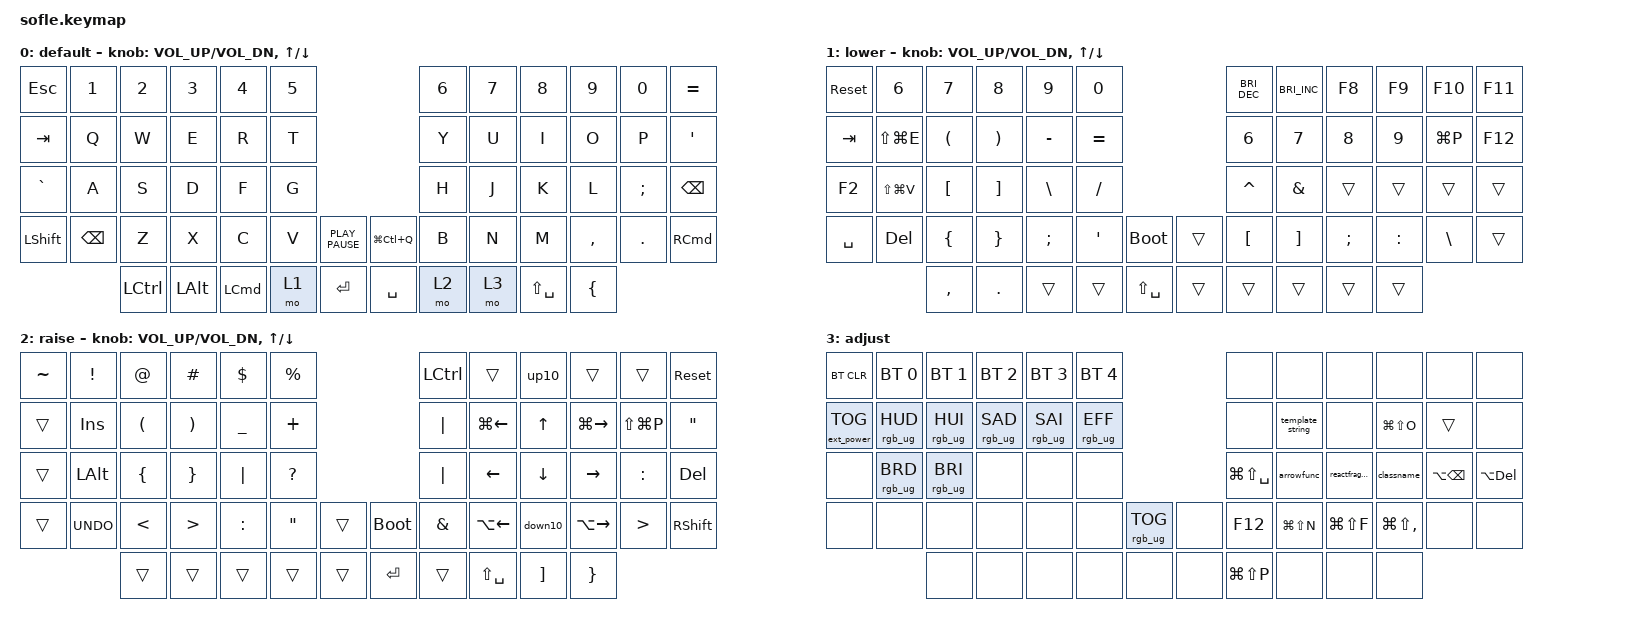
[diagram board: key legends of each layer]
/*
 * Copyright (c) 2020 The ZMK Contributors
 *
 * SPDX-License-Identifier: MIT
 */

#define ZMK_POINTING_DEFAULT_MOVE_VAL 1500  // default: 600
#define ZMK_POINTING_DEFAULT_SCRL_VAL 20    // default: 10

#include <behaviors.dtsi>
#include <dt-bindings/zmk/bt.h>
#include <dt-bindings/zmk/ext_power.h>
#include <dt-bindings/zmk/keys.h>
#include <dt-bindings/zmk/rgb.h>

#define BASE 0
#define LOWER 1
#define RAISE 2
#define ADJUST 3

/ {
    // Activate ADJUST layer by pressing raise and lower

    conditional_layers { compatible = "zmk,conditional-layers"; };

    macros {
        arrowfunc: arrowfunc {
            compatible = "zmk,behavior-macro";
            #binding-cells = <0>;
            bindings = <&kp LEFT_PARENTHESIS &kp RIGHT_PARENTHESIS &kp SPACE &kp EQUAL &kp GREATER_THAN &kp SPACE &kp LEFT_BRACE &kp RIGHT_BRACE &kp LEFT_ARROW>;
            label = "ARROWFUNC";
        };

        reactfragment: reactfragment {
            compatible = "zmk,behavior-macro";
            #binding-cells = <0>;
            bindings = <&kp LG(X) &kp LT &kp GT &kp LG(V) &kp LESS_THAN &kp SLASH &kp GREATER_THAN>;
            label = "REACTFRAGMENT";
        };

        classname: classname {
            compatible = "zmk,behavior-macro";
            #binding-cells = <0>;
            bindings = <&kp LG(X) &kp LEFT_BRACE &kp C &kp N &kp LEFT_PARENTHESIS &kp LG(V) &kp COMMA &kp SPACE &kp C &kp L &kp A &kp S &kp S &kp LS(N) &kp A &kp M &kp E>;
            label = "CLASSNAME";
        };

        down10: down10 {
            compatible = "zmk,behavior-macro";
            #binding-cells = <0>;
            bindings = <&kp DOWN &kp DOWN_ARROW &kp DOWN &kp DOWN &kp DOWN &kp DOWN &kp DOWN &kp DOWN &kp DOWN &kp DOWN>;
            label = "DOWN10";
        };

        up10: up10 {
            compatible = "zmk,behavior-macro";
            #binding-cells = <0>;
            bindings = <&kp UP_ARROW &kp UP_ARROW &kp UP_ARROW &kp UP_ARROW &kp UP_ARROW &kp UP_ARROW &kp UP_ARROW &kp UP_ARROW &kp UP_ARROW &kp UP_ARROW>;
            label = "UP10";
        };

        cmd_shift: cmd_shift {
            compatible = "zmk,behavior-macro";
            #binding-cells = <0>;
            bindings = <&kp LG(LEFT_SHIFT)>;
            label = "CMD_SHIFT";
        };

        template_string: template_string {
            compatible = "zmk,behavior-macro";
            #binding-cells = <0>;
            bindings = <&kp GRAVE &kp RIGHT_ARROW &kp DOLLAR &kp LEFT_BRACE &kp RIGHT_BRACE &kp LEFT_ARROW>;
            label = "TEMPLATE_STRING";
        };
    };

    keymap {
        compatible = "zmk,keymap";

        default_layer {
            label = "default";

            // ------------------------------------------------------------------------------------------------------------
            // |   `   |  1  |  2  |  3   |  4   |  5   |                   |  6   |  7    |  8    |  9   |   0   |       |
            // |  ESC  |  Q  |  W  |  E   |  R   |  T   |                   |  Y   |  U    |  I    |  O   |   P   | BKSPC |
            // |  TAB  |  A  |  S  |  D   |  F   |  G   |                   |  H   |  J    |  K    |  L   |   ;   |   '   |
            // | SHIFT |  Z  |  X  |  C   |  V   |  B   |  MUTE  |  |       |  N   |  M    |  ,    |  .   |   /   | SHIFT |
            //               | GUI | ALT  | CTRL | LOWER|  ENTER |  | SPACE | RAISE| CTRL  | ALT   | GUI  |

            bindings = <
&kp ESCAPE  &kp N1         &kp N2     &kp N3        &kp N4    &kp N5                                     &kp N6  &kp N7  &kp N8         &kp N9          &kp N0         &kp EQUAL
&kp TAB     &kp Q          &kp W      &kp E         &kp R     &kp T                                      &kp Y   &kp U   &kp I          &kp O           &kp P          &kp SINGLE_QUOTE
&kp GRAVE   &kp A          &kp S      &kp D         &kp F     &kp G                                      &kp H   &kp J   &kp K          &kp L           &kp SEMICOLON  &kp BACKSPACE
&kp LSHFT   &kp BACKSPACE  &kp Z      &kp X         &kp C     &kp V   &kp K_PLAY_PAUSE    &kp LG(LC(Q))  &kp B   &kp N   &kp M          &kp COMMA       &kp PERIOD     &kp RIGHT_COMMAND
                           &kp LCTRL  &kp LEFT_ALT  &kp LCMD  &mo 1   &kp RET             &kp SPACE      &mo 2   &mo 3   &kp LS(SPACE)  &kp LEFT_BRACE
            >;

            sensor-bindings =
                <&inc_dec_kp C_VOL_UP C_VOL_DN>,
                <&inc_dec_kp UP_ARROW DOWN_ARROW>;
        };

        lower_layer {
            label = "lower";

            // TODO: Some binds are waiting for shifted keycode support.
            // ------------------------------------------------------------------------------------------------------------
            // |       |  F1 |  F2 |  F3  |  F4  |  F5  |                   |  F6  |  F7   |  F8   |  F9  |  F10  |  F11  |
            // |   `   |  1  |  2  |  3   |  4   |  5   |                   |  6   |  7    |  8    |  9   |   0   |  F12  |
            // |       |  !  |  @  |  #   |  $   |  %   |                   |  ^   |  &    |  *    |  (   |   )   |   |   |
            // |       |  =  |  -  |  +   |  {   |  }   |        |  |       |  [   |  ]    |  ;    |  :   |   \   |       |
            //               |     |      |      |      |        |  |       |      |       |       |      |

            bindings = <
&sys_reset  &kp NUMBER_6   &kp N7                &kp N8                 &kp N9         &kp N0                              &kp C_BRI_DEC  &kp C_BRIGHTNESS_INC  &kp F8    &kp F9     &kp F10    &kp F11
&kp TAB     &kp LS(LG(E))  &kp LEFT_PARENTHESIS  &kp RIGHT_PARENTHESIS  &kp MINUS      &kp EQUAL                           &kp N6         &kp N7                &kp N8    &kp N9     &kp LG(P)  &kp F12
&kp F2      &kp LS(LG(V))  &kp LEFT_BRACKET      &kp RIGHT_BRACKET      &kp BACKSLASH  &kp SLASH                           &kp CARET      &kp AMPS              &trans    &trans     &trans     &trans
&kp SPACE   &kp DELETE     &kp LEFT_BRACE        &kp RIGHT_BRACE        &kp SEMICOLON  &kp SQT    &bootloader      &trans  &kp LBKT       &kp RBKT              &kp SEMI  &kp COLON  &kp BSLH   &trans
                           &kp COMMA             &kp PERIOD             &trans         &trans     &kp LS(SPACE)    &trans  &trans         &trans                &trans    &trans
            >;

            sensor-bindings =
                <&inc_dec_kp C_VOL_UP C_VOL_DN>,
                <&inc_dec_kp UP_ARROW DOWN_ARROW>;
        };

        raise_layer {
            label = "raise";

            // ------------------------------------------------------------------------------------------------------------
            // | BTCLR | BT1  | BT2  |  BT3  |  BT4  |  BT5 |                |      |      |       |      |       |       |
            // |       | INS  | PSCR | GUI   |       |      |                | PGUP |      |   ^   |      |       |       |
            // |       | ALT  | CTRL | SHIFT |       | CAPS |                | PGDN |   <- |   v   |  ->  |  DEL  | BKSPC |
            // |       | UNDO | CUT  | COPY  | PASTE |      |      |  |      |      |      |       |      |       |       |
            //                |      |       |       |      |      |  |      |      |      |       |      |

            bindings = <
&kp TILDE  &kp EXCLAMATION  &kp AT_SIGN           &kp HASH               &kp DOLLAR      &kp PERCENT                               &kp LCTRL      &trans         &up10              &trans           &trans            &sys_reset
&trans     &kp INS          &kp LEFT_PARENTHESIS  &kp RIGHT_PARENTHESIS  &kp UNDERSCORE  &kp PLUS                                  &kp PIPE       &kp LG(LEFT)   &kp UP             &kp LG(RIGHT)    &kp LS(LG(P))     &kp DOUBLE_QUOTES
&trans     &kp LALT         &kp LEFT_BRACE        &kp RIGHT_BRACE        &kp PIPE        &kp QUESTION                              &kp PIPE       &kp LEFT       &kp DOWN           &kp RIGHT        &kp COLON         &kp DELETE
&trans     &kp K_UNDO       &kp LESS_THAN         &kp GREATER_THAN       &kp COLON       &kp DOUBLE_QUOTES  &trans    &bootloader  &kp AMPERSAND  &kp LA(LEFT)   &down10            &kp LA(RIGHT)    &kp GREATER_THAN  &kp RIGHT_SHIFT
                            &trans                &trans                 &trans          &trans             &trans    &kp ENTER    &trans         &kp LS(SPACE)  &kp RIGHT_BRACKET  &kp RIGHT_BRACE
            >;

            sensor-bindings =
                <&inc_dec_kp C_VOL_UP C_VOL_DN>,
                <&inc_dec_kp UP_ARROW DOWN>;
        };

        adjust_layer {
            // ----------------------------------------------------------------------------------------------------------------------------
            // | BTCLR  |  BT1    |  BT2    |   BT3   |   BT4   |   BT5   |                  |      |      |       |      |       |       |
            // | EXTPWR | RGB_HUD | RGB_HUI | RGB_SAD | RGB_SAI | RGB_EFF |                  |      |      |       |      |       |       |
            // |        | RGB_BRD | RGB_BRI |         |         |         |                  |      |      |       |      |       |       |
            // |        |         |         |         |         |         | RGB_TOG | |      |      |      |       |      |       |       |
            //                    |         |         |         |         |         | |      |      |      |       |      |

            label = "adjust";
            bindings = <
&bt BT_CLR         &bt BT_SEL 0     &bt BT_SEL 1     &bt BT_SEL 2     &bt BT_SEL 3     &bt BT_SEL 4                               &none              &none             &none           &none              &none              &none
&ext_power EP_TOG  &rgb_ug RGB_HUD  &rgb_ug RGB_HUI  &rgb_ug RGB_SAD  &rgb_ug RGB_SAI  &rgb_ug RGB_EFF                            &none              &template_string  &none           &kp LG(LS(O))      &trans             &none
&none              &rgb_ug RGB_BRD  &rgb_ug RGB_BRI  &none            &none            &none                                      &kp LG(LS(SPACE))  &arrowfunc        &reactfragment  &classname         &kp LA(BACKSPACE)  &kp LA(DELETE)
&none              &none            &none            &none            &none            &none            &rgb_ug RGB_TOG    &none  &kp F12            &kp LG(LS(N))     &kp LG(LS(F))   &kp LG(LS(COMMA))  &none              &none
                                    &none            &none            &none            &none            &none              &none  &kp LG(LS(P))      &none             &none           &none
            >;
        };
    };
};
